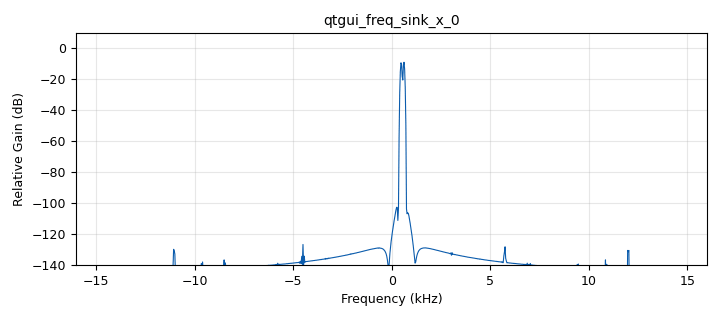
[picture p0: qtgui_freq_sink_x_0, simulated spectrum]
options:
  parameters:
    category: Custom
    generate_options: qt_gui
    id: top_block
    output_language: python
  states: {}

blocks:
- name: samp_rate
  id: variable
  parameters:
    value: '32000'
  states: {}
- name: variable_1
  id: variable
  parameters:
    comment: |-
      (COMMENT)
      Enable/Disable appropriate FFT/Freq. blocks.
    value: '0'
  states: {}
- name: analog_quadrature_demod_cf_0
  id: analog_quadrature_demod_cf
  parameters:
    gain: '1'
  states: {}
- name: analog_sig_source_x_0
  id: analog_sig_source_x
  parameters:
    amp: '1'
    freq: '480'
    offset: '0'
    phase: '0'
    samp_rate: samp_rate
    type: complex
    waveform: analog.GR_COS_WAVE
  states: {}
- name: analog_sig_source_x_0_0
  id: analog_sig_source_x
  parameters:
    amp: '1'
    freq: '620'
    offset: '0'
    phase: '0'
    samp_rate: samp_rate
    type: complex
    waveform: analog.GR_COS_WAVE
  states: {}
- name: audio_sink_0
  id: audio_sink
  parameters:
    device_name: 'null'
    samp_rate: samp_rate
  states: {}
- name: blocks_add_xx_0
  id: blocks_add_xx
  parameters:
    type: complex
  states: {}
- name: blocks_throttle_0
  id: blocks_throttle
  parameters:
    samples_per_second: samp_rate
    type: complex
  states: {}
- name: qtgui_freq_sink_x_0
  id: qtgui_freq_sink_x
  parameters:
    bw: samp_rate
    fc: '0'
    fftsize: '1024'
    showports: 'True'
    type: complex
  states: {}
- name: wxgui_fftsink2_0
  id: wxgui_fftsink2
  parameters:
    average: 'False'
    avg_alpha: '0'
    baseband_freq: '0'
    fft_rate: '15'
    fft_size: '1024'
    freqvar: None
    peak_hold: 'False'
    ref_level: '0'
    ref_scale: '2.0'
    samp_rate: samp_rate
    title: FFT Plot
    type: float
    win: None
    y_divs: '10'
    y_per_div: '10'
  states: {state: disabled}

connections:
- [analog_quadrature_demod_cf_0, '0', audio_sink_0, '0']
- [analog_sig_source_x_0, '0', blocks_add_xx_0, '0']
- [analog_sig_source_x_0_0, '0', blocks_add_xx_0, '1']
- [blocks_add_xx_0, '0', blocks_throttle_0, '0']
- [blocks_throttle_0, '0', analog_quadrature_demod_cf_0, '0']
- [blocks_throttle_0, '0', qtgui_freq_sink_x_0, '0']
- [blocks_throttle_0, '0', wxgui_fftsink2_0, '0']

metadata:
  file_format: 1
